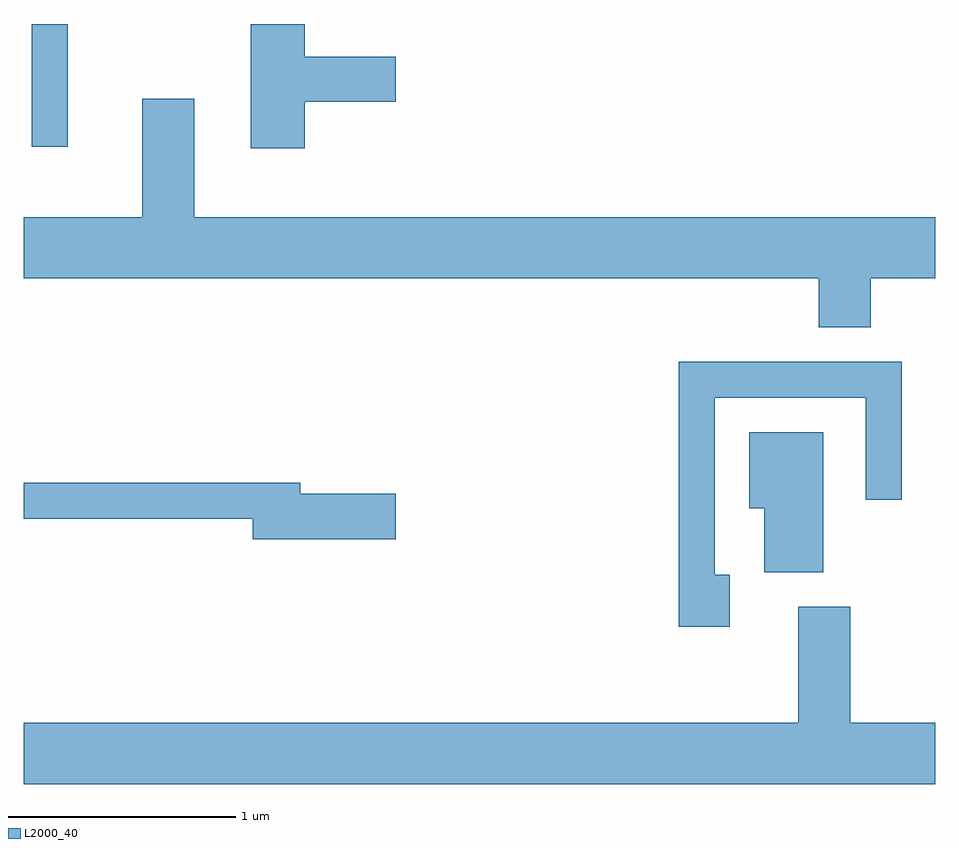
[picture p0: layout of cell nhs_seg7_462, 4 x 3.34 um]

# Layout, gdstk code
import gdstk
lib = gdstk.Library(unit=1e-6, precision=1e-09)
def R(c, l, rs):  # rectangles x0, y0, x1, y1
    for r in rs: c.add(gdstk.rectangle(r[:2], r[2:], *l))
def P(c, l, *ps):  # polygons
    for p in ps: c.add(gdstk.Polygon(p, *l))
L2000_40 = (2000, 40)

nhs_seg7_462 = lib.new_cell('nhs_seg7_462')
R(nhs_seg7_462, L2000_40, [(197.646,1783.713,197.804,1784.252)])
P(nhs_seg7_462, L2000_40, [(198.844,1783.911),(199.244,1783.911),(199.244,1784.109),(198.844,1784.109),(198.844,1784.252),(198.606,1784.252),(198.606,1783.706),(198.844,1783.706)],
  [(201.329,1783.136),(201.611,1783.136),(201.611,1783.404),(198.359,1783.404),(198.359,1783.924),(198.131,1783.924),(198.131,1783.404),(197.611,1783.404),(197.611,1783.136),(201.101,1783.136),(201.101,1782.921),(201.329,1782.921)],
  [(200.709,1781.834),(200.644,1781.834),(200.644,1782.611),(201.306,1782.611),(201.306,1782.163),(201.464,1782.163),(201.464,1782.769),(200.486,1782.769),(200.486,1781.606),(200.709,1781.606)],
  [(201.119,1782.459),(200.796,1782.459),(200.796,1782.126),(200.861,1782.126),(200.861,1781.846),(201.119,1781.846)],
  [(199.244,1782.189),(198.824,1782.189),(198.824,1782.239),(197.611,1782.239),(197.611,1782.081),(198.616,1782.081),(198.616,1781.991),(199.244,1781.991)],
  [(201.611,1781.184),(201.239,1781.184),(201.239,1781.694),(201.011,1781.694),(201.011,1781.184),(197.611,1781.184),(197.611,1780.916),(201.611,1780.916)])

lib.write_gds('nhs_seg7_462.gds')
